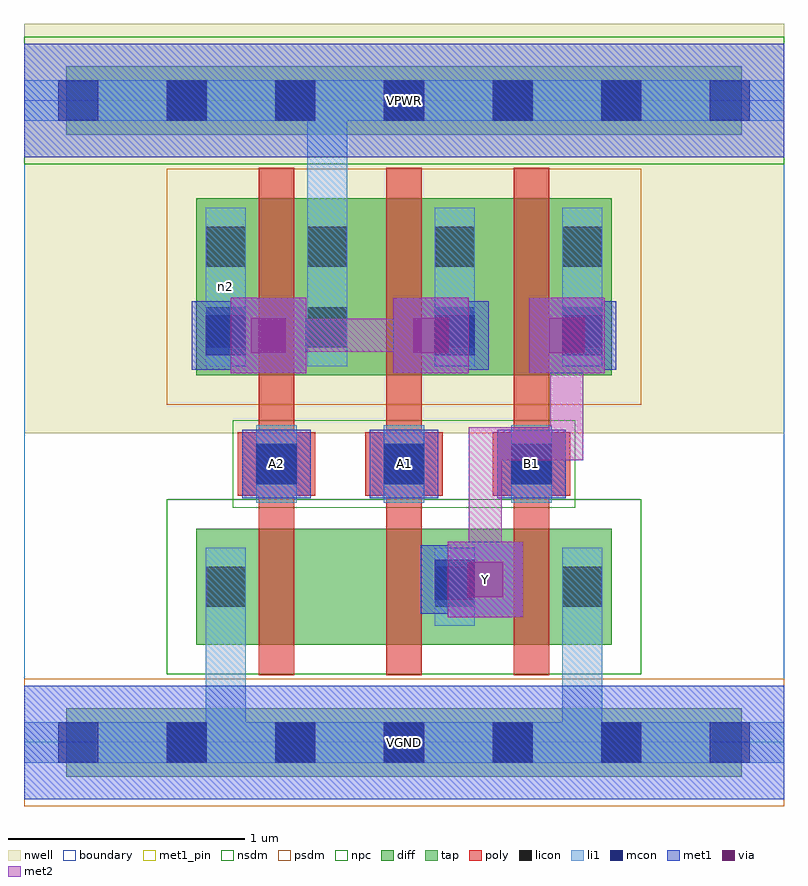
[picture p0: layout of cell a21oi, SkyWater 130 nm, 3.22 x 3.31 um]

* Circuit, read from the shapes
.subckt a21oi A1 A2 B1 VGND VPWR Y n2
XM1 n1 A2 VGND VGND sky130_fd_pr__nfet_01v8 w=0.49 l=0.15
XM2 Y A1 n1 VGND sky130_fd_pr__nfet_01v8 w=0.49 l=0.15
XM3 VGND B1 Y VGND sky130_fd_pr__nfet_01v8 w=0.49 l=0.15
XM4 VPWR A2 n2 VPWR sky130_fd_pr__pfet_01v8 w=0.75 l=0.15
XM5 n2 A1 VPWR VPWR sky130_fd_pr__pfet_01v8 w=0.75 l=0.15
XM6 Y B1 n2 VPWR sky130_fd_pr__pfet_01v8 w=0.75 l=0.15
.ends

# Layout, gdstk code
import gdstk
lib = gdstk.Library(unit=1e-6, precision=1e-09)
def R(c, l, rs):  # rectangles x0, y0, x1, y1
    for r in rs: c.add(gdstk.rectangle(r[:2], r[2:], *l))
def A(c, l, x, y, w, h, nx, ny, dx, dy):  # array of equal rectangles
    R(c, l, [(x+i*dx, y+j*dy, x+i*dx+w, y+j*dy+h) for i in range(nx) for j in range(ny)])
nwell = (64, 20)
diff = (65, 20)
tap = (65, 44)
poly = (66, 20)
licon = (66, 44)
li1 = (67, 20)
mcon = (67, 44)
met1_pin = (68, 16)
met1 = (68, 20)
via = (68, 44)
met2 = (69, 20)
nsdm = (93, 44)
psdm = (94, 20)
npc = (95, 20)
boundary = (235, 4)

a21oi = lib.new_cell('a21oi')
R(a21oi, nwell, [(0,1.31,3.22,3.045)])
R(a21oi, diff, [(0.73,0.415,2.49,0.905), (0.73,1.555,2.49,2.305)])
R(a21oi, tap, [(0.18,-0.145,3.04,0.145), (0.18,2.575,3.04,2.865)])
A(a21oi, poly, 0.995, 0.285, 0.15, 2.15, 3, 1, 0.54, 0)
A(a21oi, poly, 0.905, 1.045, 0.33, 0.27, 3, 1, 0.54, 0)
A(a21oi, licon, 0.605, -0.085, 0.17, 0.17, 5, 2, 0.46, 2.72)
A(a21oi, licon, 0.985, 1.095, 0.17, 0.17, 3, 1, 0.54, 0)
A(a21oi, licon, 1.2, 1.675, 0.17, 0.17, 3, 2, 0.54, 0.34)
R(a21oi, licon, [(0.77,0.575,0.94,0.745), (1.74,0.575,1.91,0.745), (2.28,0.575,2.45,0.745), (0.77,1.675,0.94,1.845), (0.77,2.015,0.94,2.185)])
A(a21oi, li1, 0.985, 1.015, 0.17, 0.33, 3, 1, 0.54, 0)
A(a21oi, li1, 1.2, 1.595, 0.17, 0.67, 3, 1, 0.54, 0)
R(a21oi, li1, [(0,-0.085,3.22,0.085), (0.77,-0.085,0.94,0.825), (2.28,-0.085,2.45,0.825), (0.77,0.495,0.94,0.825), (1.74,0.495,1.91,0.825), (2.28,0.495,2.45,0.825), (0.77,1.595,0.94,2.265), (1.2,1.595,1.37,2.805), (0,2.635,3.22,2.805)])
A(a21oi, mcon, 0.145, -0.085, 0.17, 0.17, 7, 2, 0.46, 2.72)
A(a21oi, mcon, 0.985, 1.095, 0.17, 0.17, 3, 1, 0.54, 0)
R(a21oi, mcon, [(1.74,0.605,1.91,0.775), (0.77,1.64,0.94,1.81), (1.74,1.64,1.91,1.81), (2.28,1.64,2.45,1.81)])
A(a21oi, met1_pin, 0.925, 1.035, 0.29, 0.29, 3, 1, 0.54, 0)
R(a21oi, met1_pin, [(0,-0.24,3.22,0.24), (1.795,0.53,2.115,0.85), (0,2.48,3.22,2.96)])
A(a21oi, met1, 0.925, 1.035, 0.29, 0.29, 3, 1, 0.54, 0)
R(a21oi, met1, [(0,-0.24,3.22,0.24), (1.795,0.53,2.115,0.85), (1.68,0.545,1.97,0.835), (1.755,0.62,2.025,0.76), (0.875,1.565,1.195,1.885), (1.565,1.565,1.885,1.885), (2.14,1.565,2.46,1.885), (0.71,1.58,1,1.87), (1.68,1.58,1.97,1.87), (2.22,1.58,2.51,1.87), (0.785,1.655,1.105,1.795), (1.655,1.655,1.895,1.795), (2.23,1.655,2.435,1.795), (0,2.48,3.22,2.96)])
R(a21oi, via, [(1.88,0.615,2.03,0.765), (0.96,1.65,1.11,1.8), (1.65,1.65,1.8,1.8), (2.225,1.65,2.375,1.8)])
R(a21oi, met2, [(1.795,0.53,2.115,0.85), (1.885,0.62,2.025,1.335), (1.885,1.195,2.37,1.335), (2.23,1.195,2.37,1.795), (0.875,1.565,1.195,1.885), (1.565,1.565,1.885,1.885), (2.14,1.565,2.46,1.885), (0.965,1.655,1.795,1.795)])
R(a21oi, nsdm, [(0.605,0.29,2.615,1.03), (0,2.45,3.22,2.99)])
R(a21oi, psdm, [(0,-0.27,3.22,0.27), (0.605,1.43,2.615,2.43)])
R(a21oi, npc, [(0.885,0.995,2.335,1.365)])
R(a21oi, boundary, [(0,0,3.22,2.72)])
a21oi.add(gdstk.Label('n2', (0.855,1.93), layer=67, texttype=5))
a21oi.add(gdstk.Label('A1', (1.61,1.18), layer=68, texttype=5))
a21oi.add(gdstk.Label('A2', (1.07,1.18), layer=68, texttype=5))
a21oi.add(gdstk.Label('B1', (2.15,1.18), layer=68, texttype=5))
a21oi.add(gdstk.Label('Y', (1.955,0.69), layer=68, texttype=5))
a21oi.add(gdstk.Label('VPWR', (1.61,2.72), layer=68, texttype=5))
a21oi.add(gdstk.Label('VGND', (1.61,0), layer=68, texttype=5))
a21oi.add(gdstk.Label('A1', (1.61,1.18), layer=68, texttype=16))
a21oi.add(gdstk.Label('A2', (1.07,1.18), layer=68, texttype=16))
a21oi.add(gdstk.Label('B1', (2.15,1.18), layer=68, texttype=16))
a21oi.add(gdstk.Label('Y', (1.955,0.69), layer=68, texttype=16))
a21oi.add(gdstk.Label('VPWR', (1.61,2.72), layer=68, texttype=16))
a21oi.add(gdstk.Label('VGND', (1.61,0), layer=68, texttype=16))

lib.write_gds('a21oi.gds')
